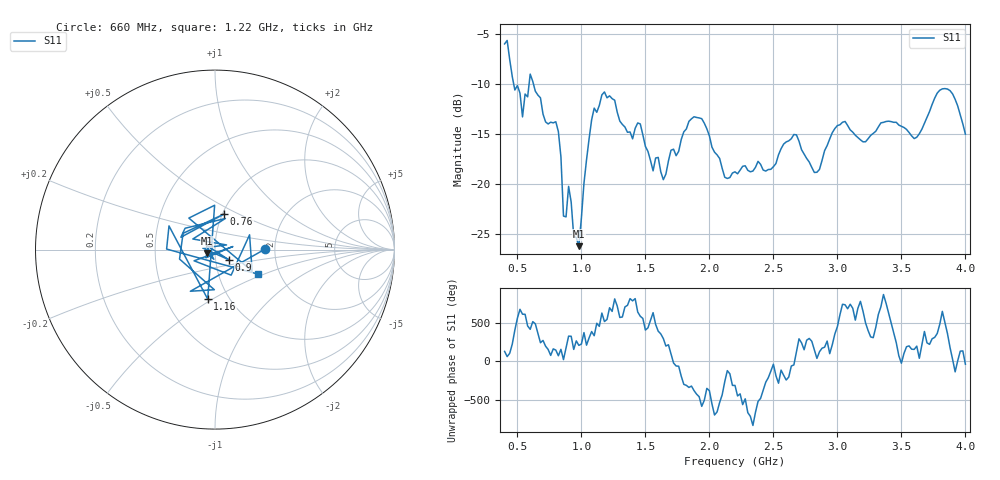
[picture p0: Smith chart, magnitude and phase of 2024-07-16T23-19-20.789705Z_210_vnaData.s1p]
!Created with skrf (http://scikit-rf.org).
# Hz S RI R 50.0
!freq ReS11 ImS11
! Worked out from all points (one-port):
!   181 points, 400 MHz to 4 GHz, reference 50 ohm
!   lowest |S11| = -26.2 dB at 980 MHz (marker M1), VSWR 1.10, Z = 45.7 - j1.93 ohm
!   |S11| at or under -10 dB: 470.8 MHz to 591.4 MHz (120.6 MHz wide, 22.7 % of centre); 625.2 MHz to end of sweep
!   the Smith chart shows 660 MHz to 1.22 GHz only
!   S11 on the Smith chart (normalised r, x): 660 MHz: 1.77, +0.01; 760 MHz: 1.02, +0.42; 900 MHz: 1.16, -0.13; 1.16 GHz: 0.80, -0.48; 1.22 GHz: 1.55, -0.46
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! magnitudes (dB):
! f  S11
! 400 MHz  -6.0
! 540 MHz  -13.3
! 600 MHz  -9.0
! 660 MHz  -11.1
! 760 MHz  -13.8
! 820 MHz  -14.8
! 860 MHz  -23.2
! 900 MHz  -20.2
! 940 MHz  -25.2
! 980 MHz  -26.2
! 1.08 GHz  -13.6
! 1.16 GHz  -11.1
! 1.22 GHz  -11.2
! 1.3 GHz  -13.7
! 1.46 GHz  -14.0
! 1.64 GHz  -19.6
! 1.76 GHz  -16.7
! 1.94 GHz  -13.5
! 2.12 GHz  -19.3
! 2.2 GHz  -18.8
! 2.48 GHz  -18.5
! 2.66 GHz  -15.0
! 2.84 GHz  -18.8
! 2.98 GHz  -14.5
! 3.1 GHz  -14.6
! 3.56 GHz  -14.8
! 3.84 GHz  -10.5
! 4 GHz  -15.0
